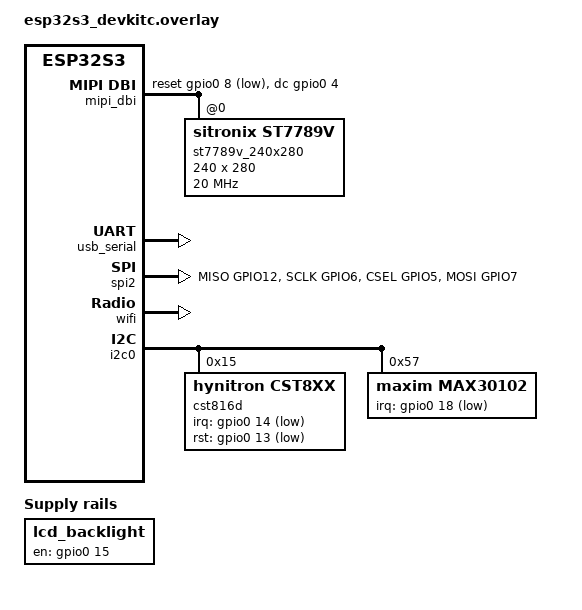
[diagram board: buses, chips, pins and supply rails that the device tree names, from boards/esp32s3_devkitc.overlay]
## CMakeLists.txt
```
cmake_minimum_required(VERSION 3.20.0)

if((NOT DEFINED DTC_OVERLAY_FILE OR DTC_OVERLAY_FILE STREQUAL "")
   AND EXISTS "${CMAKE_CURRENT_SOURCE_DIR}/boards/esp32s3_devkitc.overlay")
  set(DTC_OVERLAY_FILE
      "${CMAKE_CURRENT_SOURCE_DIR}/boards/esp32s3_devkitc.overlay"
      CACHE STRING "Application devicetree overlay" FORCE)
endif()

find_package(Zephyr REQUIRED HINTS $ENV{ZEPHYR_BASE})
project(zephyr_health_monitoring_system)

add_subdirectory(drivers)

file(GLOB_RECURSE app_sources CONFIGURE_DEPENDS src/*.c)
target_include_directories(app PRIVATE
  src
  src/ui
  src/services
)
target_sources(app PRIVATE ${app_sources})
```

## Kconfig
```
menu "ZHMS application configuration"

config ZHMS_WIFI_SSID
	string "Wi-Fi SSID"
	default ""
	help
		SSID used by the Wi-Fi station connection.
		Keep deployment-specific values in an untracked extra .conf file.

config ZHMS_WIFI_PSK
	string "Wi-Fi passphrase"
	default ""
	help
		PSK used by the Wi-Fi station connection.
		Do not commit real credentials to the repository.

config ZHMS_MQTT_ENABLED
	bool "Enable MQTT BPM uplink"
	default n
	help
		Enable publishing the current BPM snapshot to an MQTT broker.
		The default is disabled so a fresh checkout does not depend on a
		developer's private LAN broker.

config ZHMS_MQTT_BROKER_ADDR
	string "MQTT broker IPv4 address"
	default ""
	help
		IPv4 address of the MQTT broker used for the BPM uplink.

config ZHMS_MQTT_BROKER_PORT
	int "MQTT broker port"
	default 1883
	range 1 65535

config ZHMS_MQTT_CLIENT_ID
	string "MQTT client ID"
	default "zhms-devkitc"

config ZHMS_MQTT_TOPIC
	string "MQTT BPM topic"
	default "zhms/health/bpm"

endmenu

rsource "drivers/Kconfig"
source "Kconfig.zephyr"
```

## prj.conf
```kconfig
# =============================================================================
# ZHMS (Zephyr Health Monitoring System) — Project Configuration
# =============================================================================
# 日志配置
CONFIG_LOG=y
CONFIG_LOG_MODE_MINIMAL=y
CONFIG_THREAD_NAME=y
CONFIG_DEBUG_THREAD_INFO=y
CONFIG_EVENTS=y

# Tracealyzer / TraceRecorder
# CONFIG_TRACING is not set
# CONFIG_PERCEPIO_TRACERECORDER is not set
# CONFIG_PERCEPIO_TRC_START_MODE_START is not set
# CONFIG_PERCEPIO_TRC_CFG_STREAM_PORT_RINGBUFFER is not set
# CONFIG_PERCEPIO_TRC_CFG_STREAM_PORT_RINGBUFFER_SIZE=65536
# CONFIG_PERCEPIO_TRC_CFG_CTRL_TASK_STACK_SIZE=1024
# CONFIG_TRACING_SYSCALL is not set

# 栈空间
CONFIG_MAIN_STACK_SIZE=4096

# flash配置
CONFIG_ESPTOOLPY_FLASHSIZE_16MB=y

# =============================================================================
# WiFi & Networking
# =============================================================================
CONFIG_WIFI=y
CONFIG_NETWORKING=y
CONFIG_MQTT_LIB=y
CONFIG_NET_MGMT_EVENT_INFO=y
CONFIG_NET_IPV4=y
CONFIG_NET_TCP=y
CONFIG_NET_SOCKETS=y
CONFIG_NET_DHCPV4=y
CONFIG_DNS_RESOLVER=y
CONFIG_SNTP=y
CONFIG_NET_L2_ETHERNET=y
CONFIG_MQTT_KEEPALIVE=30

# Network debug
CONFIG_NET_LOG=y

# =============================================================================
# LCD Display (ST7789V) + LVGL Configuration
# =============================================================================

# Display driver framework
CONFIG_DISPLAY=y

# Regulator (backlight control via GPIO)
CONFIG_REGULATOR=y

# ST7789V display driver
CONFIG_ST7789V=y

# RGB565 字节序交换（部分模块需启用）
# CONFIG_ST7789V_RGB565X=y

# LVGL graphics library
CONFIG_LVGL=y
CONFIG_LV_Z_LVGL_MUTEX=y
CONFIG_LV_Z_BITS_PER_PIXEL=16
CONFIG_LV_COLOR_16_SWAP=y
CONFIG_LV_Z_MEM_POOL_SIZE=32768
CONFIG_LV_FONT_MONTSERRAT_14=y
CONFIG_LV_FONT_MONTSERRAT_16=y
CONFIG_LV_FONT_MONTSERRAT_18=y
CONFIG_LV_FONT_MONTSERRAT_20=y
CONFIG_LV_FONT_MONTSERRAT_36=y
CONFIG_LV_FONT_MONTSERRAT_48=y
CONFIG_LV_FONT_SOURCE_HAN_SANS_SC_14_CJK=y
CONFIG_LV_FONT_SOURCE_HAN_SANS_SC_16_CJK=y

# LVGL widgets used
CONFIG_LV_USE_LABEL=y
CONFIG_LV_LABEL_TEXT_SELECTION=y
CONFIG_LV_LABEL_LONG_TXT_HINT=y
CONFIG_LV_USE_LINE=y

# =============================================================================
# Touch (CST816D) — I2C + Input + LVGL Pointer
# =============================================================================
CONFIG_I2C=y
CONFIG_INPUT=y
CONFIG_INPUT_CST8XX=y
CONFIG_LV_Z_POINTER_INPUT=y
# MAX30102 sensor bring-up
CONFIG_SENSOR=y
CONFIG_MAX30102=y
```

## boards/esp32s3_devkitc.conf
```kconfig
# ZHMS — ESP32-S3 DevKitC 板级配置

# WiFi STA + DHCP (ESP32-specific)
CONFIG_ESP32_WIFI_STA_AUTO_DHCPV4=y
CONFIG_ESP_WIFI_HEAP_SYSTEM=y
CONFIG_HEAP_MEM_POOL_SIZE=51200
```

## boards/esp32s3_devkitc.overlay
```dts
/* ZHMS — ESP32-S3 DevKitC 设备树覆盖 */

#include <zephyr/dt-bindings/mipi_dbi/mipi_dbi.h>

/ {
	aliases {
		lcd-bl = &lcd_backlight;
	};

	chosen {
		zephyr,console = &usb_serial;
		zephyr,shell-uart = &usb_serial;
		zephyr,display = &st7789v_240x280;
	};

	lcd_backlight: lcd_backlight {
		compatible = "regulator-fixed";
		regulator-name = "backlight";
		enable-gpios = <&gpio0 15 GPIO_ACTIVE_HIGH>;
		regulator-boot-on;
	};

	mipi_dbi {
		compatible = "zephyr,mipi-dbi-spi";
		spi-dev = <&spi2>;
		dc-gpios = <&gpio0 4 GPIO_ACTIVE_HIGH>;
		reset-gpios = <&gpio0 8 GPIO_ACTIVE_LOW>;
		#address-cells = <1>;
		#size-cells = <0>;

		st7789v_240x280: st7789v@0 {
			compatible = "sitronix,st7789v";
			reg = <0>;
			mipi-max-frequency = <20000000>;
			mipi-mode = "MIPI_DBI_MODE_SPI_4WIRE";
			width = <240>;
			height = <280>;
			x-offset = <0>;
			y-offset = <20>;
			vcom = <0x28>;
			gctrl = <0x35>;
			vrhs = <0x0B>;
			vdvs = <0x0C>;
			mdac = <0x00>;
			gamma = <0x01>;
			colmod = <0x05>;
			lcm = <0x2C>;
			// inversion-off;
			porch-param = [0c 0c 00 33 33];
			cmd2en-param = [01 23 45 67];
			pwctrl1-param = [a4 a1];
			pvgam-param = [d0 08 11 08 0c 15
				       39 33 50 36 13 14
				       29 2d];
			nvgam-param = [d0 08 10 08 06 06
				       39 44 51 0b 16 14
				       2f 31];
			ram-param = [00 f0];
			rgb-param = [cd 08 14];
		};
	};

	/* LVGL pointer input — route CST8xx touch events to LVGL pointer device */
	lvgl_pointer: lvgl_pointer {
		compatible = "zephyr,lvgl-pointer-input";
		input = <&cst816d>;
	};
};

&usb_serial {
	status = "okay";
};

&flash0 {
	reg = <0x0 0x1000000>; /* 16MB */
};

&spi2 {
	pinctrl-0 = <&spim2_lcd_pins>;
	pinctrl-names = "default";
};

&pinctrl {
	spim2_lcd_pins: spim2_lcd_pins {
		group1 {
			pinmux = <SPIM2_MISO_GPIO12>,
				 <SPIM2_SCLK_GPIO6>,
				 <SPIM2_CSEL_GPIO5>;
		};
		group2 {
			pinmux = <SPIM2_MOSI_GPIO7>;
			output-low;
		};
	};
};

&wifi {
	status = "okay";
};

/* =============================================================================
 * I2C0 — Touch (CST816D) + RTC + IMU shared bus
 * Override default pinctrl (GPIO1/2) to use GPIO10/11
 * =============================================================================
 */

&i2c0 {
	pinctrl-0 = <&i2c0_touch_pins>;
	pinctrl-names = "default";
	status = "okay";

	cst816d: cst816d@15 {
		compatible = "hynitron,cst8xx";
		reg = <0x15>;
		irq-gpios = <&gpio0 14 (GPIO_PULL_UP | GPIO_ACTIVE_LOW)>;
		rst-gpios = <&gpio0 13 GPIO_ACTIVE_LOW>;
	};

	max30102: max30102@57 {
		compatible = "maxim,max30102";
		reg = <0x57>;
		irq-gpios = <&gpio0 18 (GPIO_PULL_UP | GPIO_ACTIVE_LOW)>;
		acq-mode = "spo2";
		smp-ave = <1>;
		fifo-watermark = <15>;
		adc-rge = <4096>;
		smp-sr = <100>;
		led-pw = <411>;
		led-pa = [24 24];
		status = "okay";
	};
};

&pinctrl {
	i2c0_touch_pins: i2c0_touch_pins {
		group1 {
			pinmux = <I2C0_SDA_GPIO11>,
				 <I2C0_SCL_GPIO10>;
			bias-pull-up;
			drive-open-drain;
			output-high;
		};
	};
};
```

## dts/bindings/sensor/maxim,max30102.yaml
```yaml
# DeviceTree binding for Maxim MAX30102
# This binding is intentionally scoped to the repo-local IRQ-capable FIFO runtime.

description: Maxim MAX30102 pulse oximeter and heart-rate sensor

compatible: "maxim,max30102"

include: [sensor-device.yaml, i2c-device.yaml]

properties:
  # I2C address of the MAX30102 on this board.
  reg:
    description: |
      7-bit I2C address of the device. MAX30102 uses 0x57 in this project.

  # Interrupt output wiring for the MAX30102.
  irq-gpios:
    type: phandle-array
    description: |
      Active-low interrupt output from the MAX30102. The signal is open-drain
      and should be used with a pull-up. This property is used to configure the
      IRQ callback that wakes the FIFO draining path.

  # Acquisition mode selection.
  acq-mode:
    type: string
    const: "spo2"
    description: |
      Acquisition mode written into MODE_CONFIG. This bring-up revision only
      supports "spo2" for Red/IR sampling.

  # FIFO sample averaging factor.
  smp-ave:
    type: int
    default: 1
    enum:
      - 1
      - 2
      - 4
      - 8
      - 16
      - 32
    description: |
      FIFO sample averaging factor. A value of 1 disables averaging. The
      initial bring-up should keep this at 1 so raw waveform behavior is
      easier to inspect from serial output and PC plots.

  # FIFO watermark threshold.
  fifo-watermark:
    type: int
    default: 15
    enum: [0, 1, 2, 3, 4, 5, 6, 7, 8, 9, 10, 11, 12, 13, 14, 15]
    description: |
      FIFO almost-full threshold expressed as remaining empty sample slots.
      The IRQ-assisted driver programs this value into FIFO_CONFIG while the
      application drains the FIFO in batches.

  # FIFO rollover enable flag.
  fifo-rollover-en:
    type: boolean
    description: |
      Enables FIFO rollover when the FIFO becomes full. The IRQ-assisted
      acquisition path can use this to observe overflow and emit a stream gap.

  # SpO2 ADC range selection.
  adc-rge:
    type: int
    default: 4096
    enum:
      - 2048
      - 4096
      - 8192
      - 16384
    description: |
      SpO2 ADC full-scale range in nA. The project starts with 4096 as a
      conservative demo-aligned setting for raw Red/IR acquisition.

  # Sample rate selection.
  smp-sr:
    type: int
    default: 100
    enum: [50, 100, 200, 400, 800, 1000, 1600, 3200]
    description: |
      Effective sample rate in samples per second. The IRQ-assisted acquisition
      path uses this to keep its logical timestamps monotonic.

  # LED pulse width selection.
  led-pw:
    type: int
    default: 411
    enum: [69, 118, 215, 411]
    description: |
      LED pulse width in microseconds. This also determines ADC resolution.
      The default 411 us corresponds to the full 18-bit path used by the
      current FIFO decoding logic.

  # LED current amplitude values.
  led-pa:
    type: uint8-array
    const: !!binary JCQ=
    description: |
      LED pulse amplitude register values for the active channels. This
      bring-up revision uses exactly two entries: index 0 is the Red LED
      current setting and index 1 is the IR LED current setting.
```

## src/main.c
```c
#include <zephyr/kernel.h>
#include <zephyr/autoconf.h>
#include <zephyr/logging/log.h>

#include "lcd_display.h"
#include "max30102_service.h"
#include "mqtt_service.h"
#include "time_sync.h"
#include "wifi.h"

LOG_MODULE_REGISTER(zhms, CONFIG_LOG_DEFAULT_LEVEL);

int main(void)
{
	LOG_INF("ZHMS init ok");

	wifi_init();
	time_sync_init();
	lcd_display_init();
	max30102_service_init();
#if CONFIG_ZHMS_MQTT_ENABLED
	mqtt_service_init();
#endif
	wifi_connect();
	time_sync_enable();
	lcd_display_enable();
	max30102_service_enable();
#if CONFIG_ZHMS_MQTT_ENABLED
	mqtt_service_enable();
#endif

	while (1) {
		k_msleep(1000);
	}
}
```
